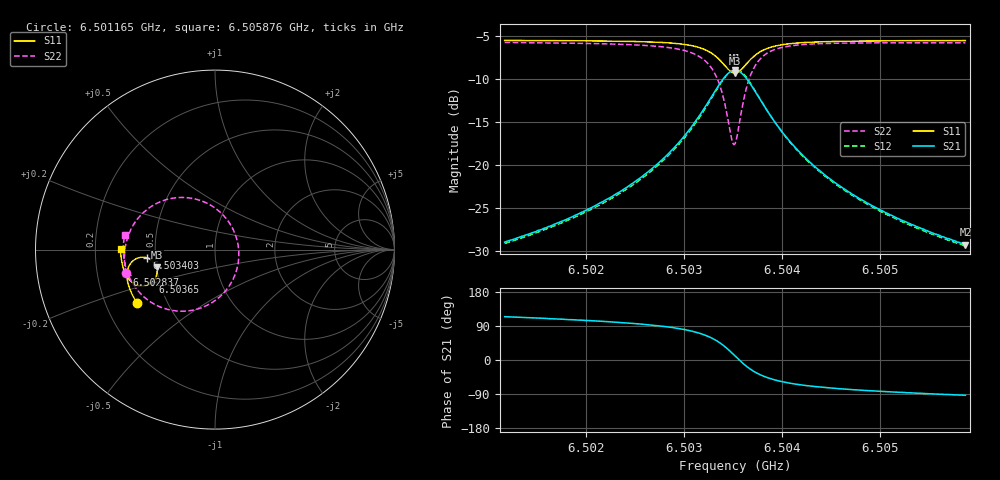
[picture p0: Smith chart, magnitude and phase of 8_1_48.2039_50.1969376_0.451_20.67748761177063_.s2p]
#  HZ  S  RI  R  50.00
! Rohde & Schwarz Vector Network Analyzer
! Rohde-Schwarz,ZNB20-2Port,1311601062101988,3.16
! Created: UTC 3/20/2024, 11:36:19 AM
! freq[Hz]  re:S11  im:S11  re:S21  im:S21  re:S12  im:S12  re:S22  im:S22
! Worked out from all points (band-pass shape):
!   401 points, 6.501165 GHz to 6.505876 GHz, reference 50 ohm
!   highest |S21| = -9.01 dB at 6.50352 GHz (marker M1); lowest = -29.2 dB at 6.505876 GHz (marker M2)
!   |S21| within 3 dB of the highest: 6.503285 GHz to 6.503756 GHz (470.8 kHz wide, 0.00724 % of centre)
!   lowest |S11| = -9.4 dB at 6.50352 GHz (marker M3), VSWR 2.03, Z = 25 - j5.64 ohm
!   |S11| at or under -10 dB: nowhere
!   |S22| runs from -17.6 to -5.8 dB; largest |S21 - S12| = 0.012
!   S11 on the Smith chart (normalised r, x): 6.501165 GHz: 0.34, -0.27; 6.502837 GHz: 0.33, -0.12; 6.503403 GHz: 0.45, -0.05; 6.50365 GHz: 0.46, -0.20; 6.505876 GHz: 0.31, +0.00
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6.5011646e9  -0.4362 -0.295  -0.0148 0.0326  -0.013 0.0327  -0.4952 -0.1331
6.5019538e9  -0.4686 -0.2346  -0.0138 0.0515  -0.0112 0.051  -0.5045 -0.0453
6.5023543e9  -0.4821 -0.1979  -0.0109 0.0699  -0.00775 0.0687  -0.4999 0.0144
6.502743e9  -0.4904 -0.1531  -0.000259 0.1033  0.00354 0.1007  -0.4761 0.0971
6.5028372e9  -0.4907 -0.1395  0.00559 0.116  0.00943 0.1128  -0.463 0.1238
6.5030375e9  -0.4848 -0.1049  0.0309 0.1528  0.0346 0.148  -0.4107 0.1948
6.5031788e9  -0.4683 -0.0742  0.0728 0.188  0.0754 0.1817  -0.3296 0.2549
6.5033084e9  -0.4304 -0.0472  0.1534 0.2142  0.154 0.2077  -0.1829 0.2906
6.5034026e9  -0.3816 -0.045  0.2489 0.196  0.2488 0.1913  -0.0177 0.2435
6.5034851e9  -0.337 -0.0763  0.3298 0.1174  0.3326 0.1133  0.1116 0.0882
6.5035204e9  -0.3257 -0.0996  0.348 0.0663  0.3519 0.0608  0.1325 -0.00806
6.503544e9  -0.3227 -0.1168  0.3513 0.0302  0.3555 0.0231  0.1293 -0.0746
6.5035793e9  -0.325 -0.142  0.3432 -0.0222  0.3469 -0.0316  0.0996 -0.1677
6.50365e9  -0.3484 -0.181  0.2936 -0.1015  0.2936 -0.1138  -0.017 -0.2955
6.5037442e9  -0.3911 -0.2016  0.2116 -0.146  0.2065 -0.1567  -0.1842 -0.3433
6.5038149e9  -0.4181 -0.2017  0.1619 -0.1512  0.155 -0.1595  -0.2771 -0.3295
6.5038973e9  -0.4421 -0.1945  0.1199 -0.1447  0.1121 -0.1505  -0.3509 -0.2963
6.5040622e9  -0.4721 -0.1732  0.07 -0.1226  0.0631 -0.1251  -0.4317 -0.2263
6.5043096e9  -0.4951 -0.1419  0.0358 -0.0945  0.0307 -0.095  -0.4808 -0.1461
6.5046748e9  -0.5113 -0.1024  0.0156 -0.0687  0.012 -0.0682  -0.5044 -0.0673
6.5050988e9  -0.5205 -0.062  0.00547 -0.0515  0.00297 -0.0509  -0.5106 -0.00327
6.5058762e9  -0.526 0.0049  -0.00188 -0.0346  -0.00335 -0.0338  -0.5038 0.0827
